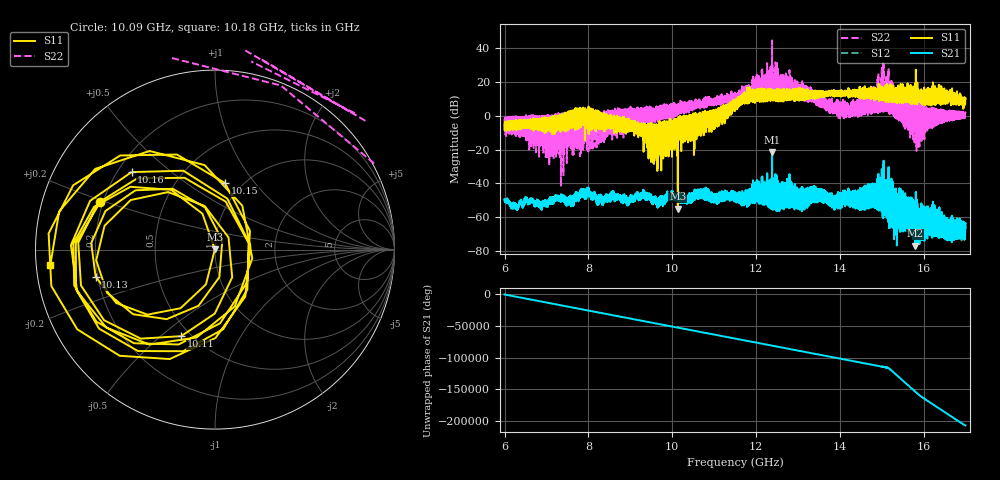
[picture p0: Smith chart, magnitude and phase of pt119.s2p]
#  HZ  S  RI  R  50.00
! Rohde & Schwarz Vector Network Analyzer
! Rohde-Schwarz,ZNA67-2Port,1332450062101215,3.01
! Created: UTC 10/19/2026, 3:45:22 PM
! freq[Hz]  re:S11  im:S11  re:S21  im:S21  re:S12  im:S12  re:S22  im:S22
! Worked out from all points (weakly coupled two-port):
!   11001 points, 6 GHz to 17 GHz, reference 50 ohm
!   highest |S21| = -21.69 dB at 12.38 GHz (marker M1); lowest = -76.9 dB at 15.8 GHz (marker M2)
!   lowest |S11| = -55.0 dB at 10.13 GHz (marker M3), VSWR 1.00, Z = 49.9 + j0.161 ohm
!   |S11| at or under -10 dB: 9.385356 GHz to 9.390275 GHz (4.919 MHz wide, 0.0524 % of centre); 9.397546 GHz to 9.402245 GHz (4.699 MHz wide, 0.05 % of centre); 9.409771 GHz to 9.414335 GHz (4.564 MHz wide, 0.0485 % of centre) (the widest 3 of 131)
!   |S22| runs from -41.8 to 44.6 dB; largest |S21 - S12| = 0.0021
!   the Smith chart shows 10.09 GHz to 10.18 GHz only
!   S11 on the Smith chart (normalised r, x): 10.09 GHz: 0.19, +0.19; 10.11 GHz: 0.45, -0.59; 10.13 GHz: 0.19, -0.11; 10.15 GHz: 0.84, +0.72; 10.16 GHz: 0.26, +0.37; 10.18 GHz: 0.04, -0.05
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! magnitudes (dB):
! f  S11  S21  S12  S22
! 6 GHz  -4.9  -49.9  -49.9  -2.0
! 6.88 GHz  -2.9  -52.1  -52.6  -6.5
! 7.592 GHz  1.1  -49.0  -48.9  -2.8
! 7.834 GHz  -5.2  -47.3  -47.1  -10.6
! 8.948 GHz  -2.4  -49.6  -49.5  4.1
! 9.316 GHz  -9.3  -47.5  -47.5  -4.4
! 9.667 GHz  -9.5  -52.5  -52.7  -2.7
! 10.09 GHz  -3.2  -47.0  -47.0  5.2
! 10.11 GHz  -5.7  -49.6  -49.5  2.2
! 10.13 GHz  -3.3  -48.4  -48.5  3.1
! 10.13 GHz  -55.0  -49.5  -49.6  3.4
! 10.15 GHz  -8.5  -50.0  -50.0  4.5
! 10.16 GHz  -4.0  -45.8  -46.0  8.3
! 10.18 GHz  -0.7  -47.4  -47.7  4.6
! 11.5 GHz  4.3  -49.3  -49.3  9.3
! 12.38 GHz  9.8  -21.7  -21.6  44.6
! 13.33 GHz  11.4  -49.2  -49.2  9.8
! 14.2 GHz  12.8  -49.0  -49.0  2.7
! 14.89 GHz  12.2  -53.4  -53.3  3.4
! 15.17 GHz  10.7  -58.9  -58.5  3.9
! 15.8 GHz  8.8  -76.9  -77.1  -16.6
! 17 GHz  10.0  -66.6  -66.8  1.5
